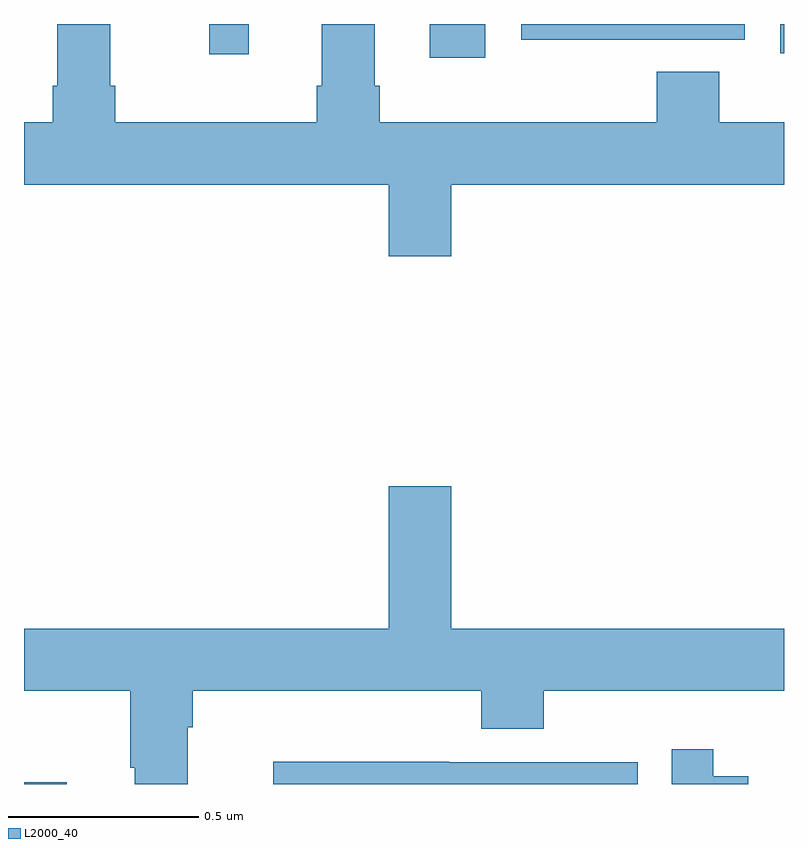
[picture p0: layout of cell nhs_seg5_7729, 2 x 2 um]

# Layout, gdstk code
import gdstk
lib = gdstk.Library(unit=1e-6, precision=1e-09)
def R(c, l, rs):  # rectangles x0, y0, x1, y1
    for r in rs: c.add(gdstk.rectangle(r[:2], r[2:], *l))
def P(c, l, *ps):  # polygons
    for p in ps: c.add(gdstk.Polygon(p, *l))
L2000_40 = (2000, 40)

nhs_seg5_7729 = lib.new_cell('nhs_seg5_7729')
R(nhs_seg5_7729, L2000_40, [(212,905.799,212.113,905.803), (213.068,907.71,213.214,907.799), (212.488,907.719,212.591,907.799), (213.99,907.722,214,907.799)])
P(nhs_seg5_7729, L2000_40, [(213.124,907.376),(214,907.376),(214,907.54),(213.83,907.54),(213.83,907.673),(213.665,907.673),(213.665,907.54),(212.936,907.54),(212.936,907.636),(212.923,907.636),(212.923,907.799),(212.783,907.799),(212.783,907.636),(212.771,907.636),(212.771,907.54),(212.24,907.54),(212.24,907.636),(212.227,907.636),(212.227,907.799),(212.087,907.799),(212.087,907.636),(212.075,907.636),(212.075,907.54),(212,907.54),(212,907.376),(212.96,907.376),(212.96,907.188),(213.124,907.188)],
  [(213.581,907.758),(213.897,907.758),(213.897,907.799),(213.309,907.799),(213.309,907.757),(213.581,907.757)],
  [(212.431,905.948),(212.444,905.948),(212.444,906.044),(213.203,906.044),(213.203,905.945),(213.368,905.945),(213.368,906.044),(214,906.044),(214,906.208),(213.124,906.208),(213.124,906.583),(212.96,906.583),(212.96,906.208),(212,906.208),(212,906.044),(212.279,906.044),(212.279,905.842),(212.291,905.842),(212.291,905.799),(212.431,905.799)],
  [(213.906,905.82),(213.814,905.82),(213.814,905.89),(213.705,905.89),(213.705,905.799),(213.906,905.799)],
  [(213.615,905.856),(213.119,905.856),(213.119,905.858),(212.656,905.858),(212.656,905.799),(213.615,905.799)])

lib.write_gds('nhs_seg5_7729.gds')
